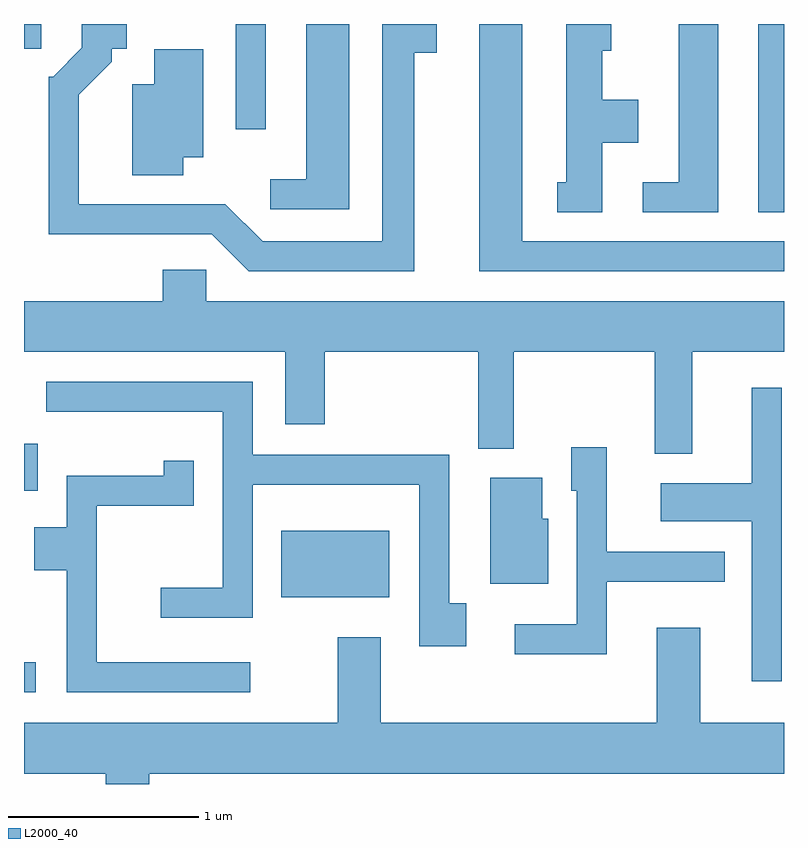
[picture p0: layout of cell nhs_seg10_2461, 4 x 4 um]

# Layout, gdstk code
import gdstk
lib = gdstk.Library(unit=1e-6, precision=1e-09)
def R(c, l, rs):  # rectangles x0, y0, x1, y1
    for r in rs: c.add(gdstk.rectangle(r[:2], r[2:], *l))
def P(c, l, *ps):  # polygons
    for p in ps: c.add(gdstk.Polygon(p, *l))
L2000_40 = (2000, 40)

nhs_seg10_2461 = lib.new_cell('nhs_seg10_2461')
R(nhs_seg10_2461, L2000_40, [(257.611,2121.006,257.673,2121.164), (258.966,2121.506,259.534,2121.854), (257.611,2122.066,257.684,2122.314), (261.476,2123.531,261.611,2124.522), (258.726,2123.968,258.884,2124.522), (257.611,2124.391,257.703,2124.522)])
P(nhs_seg10_2461, L2000_40, [(260.654,2123.896),(260.844,2123.896),(260.844,2124.124),(260.654,2124.124),(260.654,2124.381),(260.703,2124.381),(260.703,2124.522),(260.466,2124.522),(260.466,2123.689),(260.418,2123.689),(260.418,2123.531),(260.654,2123.531)],
  [(261.611,2123.379),(260.234,2123.379),(260.234,2124.522),(260.006,2124.522),(260.006,2123.221),(261.611,2123.221)],
  [(261.264,2124.522),(261.056,2124.522),(261.056,2123.689),(260.868,2123.689),(260.868,2123.531),(261.264,2123.531)],
  [(259.324,2124.522),(259.096,2124.522),(259.096,2123.704),(258.908,2123.704),(258.908,2123.546),(259.324,2123.546)],
  [(259.664,2124.371),(259.783,2124.371),(259.783,2124.522),(259.496,2124.522),(259.496,2123.379),(258.867,2123.379),(258.671,2123.574),(257.899,2123.574),(257.899,2124.149),(258.074,2124.324),(258.074,2124.391),(258.153,2124.391),(258.153,2124.522),(257.916,2124.522),(257.916,2124.397),(257.764,2124.244),(257.741,2124.244),(257.741,2123.416),(258.599,2123.416),(258.794,2123.221),(259.664,2123.221)],
  [(258.449,2123.821),(258.554,2123.821),(258.554,2124.389),(258.296,2124.389),(258.296,2124.204),(258.181,2124.204),(258.181,2123.726),(258.449,2123.726)],
  [(261.129,2122.796),(261.611,2122.796),(261.611,2123.064),(258.569,2123.064),(258.569,2123.229),(258.341,2123.229),(258.341,2123.064),(257.611,2123.064),(257.611,2122.796),(258.986,2122.796),(258.986,2122.416),(259.194,2122.416),(259.194,2122.796),(260.001,2122.796),(260.001,2122.286),(260.189,2122.286),(260.189,2122.796),(260.931,2122.796),(260.931,2122.261),(261.129,2122.261)],
  [(259.939,2121.474),(259.849,2121.474),(259.849,2122.254),(258.814,2122.254),(258.814,2122.639),(257.728,2122.639),(257.728,2122.481),(258.656,2122.481),(258.656,2121.554),(258.332,2121.554),(258.332,2121.396),(258.814,2121.396),(258.814,2122.096),(259.691,2122.096),(259.691,2121.246),(259.939,2121.246)],
  [(261.599,2122.608),(261.441,2122.608),(261.441,2122.104),(260.961,2122.104),(260.961,2121.906),(261.441,2121.906),(261.441,2121.063),(261.599,2121.063)],
  [(260.679,2121.586),(261.298,2121.586),(261.298,2121.744),(260.679,2121.744),(260.679,2122.294),(260.491,2122.294),(260.491,2122.066),(260.521,2122.066),(260.521,2121.364),(260.193,2121.364),(260.193,2121.206),(260.679,2121.206)],
  [(258.803,2121.164),(257.994,2121.164),(257.994,2121.986),(258.504,2121.986),(258.504,2122.223),(258.346,2122.223),(258.346,2122.144),(257.836,2122.144),(257.836,2121.874),(257.666,2121.874),(257.666,2121.646),(257.836,2121.646),(257.836,2121.006),(258.803,2121.006)],
  [(260.369,2121.919),(260.339,2121.919),(260.339,2122.134),(260.066,2122.134),(260.066,2121.576),(260.369,2121.576)],
  [(258.269,2120.576),(261.611,2120.576),(261.611,2120.844),(261.169,2120.844),(261.169,2121.344),(260.941,2121.344),(260.941,2120.844),(259.489,2120.844),(259.489,2121.294),(259.261,2121.294),(259.261,2120.844),(257.611,2120.844),(257.611,2120.576),(258.041,2120.576),(258.041,2120.522),(258.269,2120.522)])

lib.write_gds('nhs_seg10_2461.gds')
